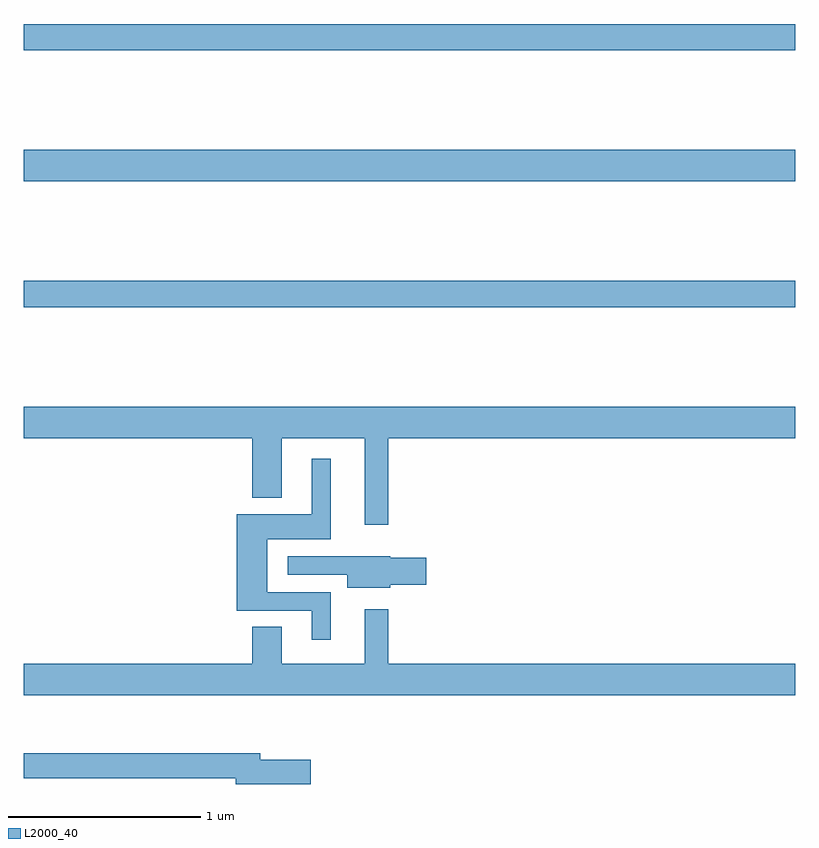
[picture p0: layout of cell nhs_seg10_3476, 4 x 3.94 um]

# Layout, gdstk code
import gdstk
lib = gdstk.Library(unit=1e-6, precision=1e-09)
def R(c, l, rs):  # rectangles x0, y0, x1, y1
    for r in rs: c.add(gdstk.rectangle(r[:2], r[2:], *l))
def P(c, l, *ps):  # polygons
    for p in ps: c.add(gdstk.Polygon(p, *l))
L2000_40 = (2000, 40)

nhs_seg10_3476 = lib.new_cell('nhs_seg10_3476')
R(nhs_seg10_3476, L2000_40, [(299,1324.972,303,1325.108), (299,1325.624,303,1325.788), (299,1326.304,303,1326.44)])
P(nhs_seg10_3476, L2000_40, [(300.889,1324.292),(303,1324.292),(303,1324.456),(299,1324.456),(299,1324.292),(300.185,1324.292),(300.185,1323.983),(300.337,1323.983),(300.337,1324.292),(300.767,1324.292),(300.767,1323.843),(300.889,1323.843)],
  [(300.592,1323.495),(300.262,1323.495),(300.262,1323.77),(300.592,1323.77),(300.592,1324.186),(300.494,1324.186),(300.494,1323.898),(300.104,1323.898),(300.104,1323.399),(300.494,1323.399),(300.494,1323.249),(300.592,1323.249)],
  [(300.9,1323.532),(301.087,1323.532),(301.087,1323.674),(300.9,1323.674),(300.9,1323.682),(300.681,1323.682),(300.681,1323.681),(300.369,1323.681),(300.369,1323.585),(300.677,1323.585),(300.677,1323.518),(300.9,1323.518)],
  [(303,1323.124),(300.889,1323.124),(300.889,1323.406),(300.767,1323.406),(300.767,1323.124),(300.337,1323.124),(300.337,1323.314),(300.185,1323.314),(300.185,1323.124),(299,1323.124),(299,1322.96),(303,1322.96)],
  [(300.487,1322.625),(300.226,1322.625),(300.226,1322.659),(299,1322.659),(299,1322.53),(300.098,1322.53),(300.098,1322.5),(300.487,1322.5)])

lib.write_gds('nhs_seg10_3476.gds')
